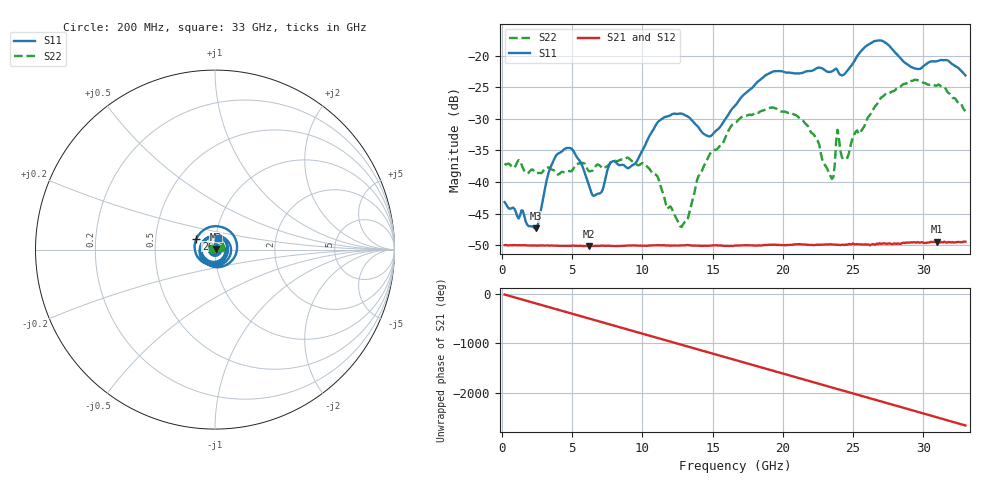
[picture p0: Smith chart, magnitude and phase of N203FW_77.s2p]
# GHZ S RI R 50
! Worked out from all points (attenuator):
!   329 points, 200 MHz to 33 GHz, reference 50 ohm
!   highest |S21| = -49.40 dB at 31 GHz (marker M1); lowest = -50.1 dB at 6.2 GHz (marker M2)
!   lowest |S11| = -47.3 dB at 2.4 GHz (marker M3), VSWR 1.01, Z = 50.3 + j0.292 ohm
!   |S11| at or under -10 dB: start of sweep to end of sweep
!   |S22| runs from -47.1 to -23.8 dB; largest |S21 - S12| = 8.8e-05
!   S11 on the Smith chart (normalised r, x): 200 MHz: 1.01, +0.00; 26 GHz: 0.81, +0.10; 33 GHz: 1.03, +0.14
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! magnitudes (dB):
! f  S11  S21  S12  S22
! 200 MHz  -43.2  -50.0  -49.9  -37.1
! 2.4 GHz  -47.3  -50.0  -50.0  -38.5
! 3.9 GHz  -35.7  -50.0  -50.1  -38.6
! 5.7 GHz  -37.3  -50.1  -50.1  -37.0
! 6.2 GHz  -40.5  -50.1  -50.1  -38.3
! 7 GHz  -41.8  -50.1  -50.0  -37.4
! 9.5 GHz  -37.0  -50.0  -50.0  -37.1
! 11.2 GHz  -30.3  -50.0  -50.0  -39.8
! 12.8 GHz  -29.2  -50.0  -50.0  -47.1
! 14.8 GHz  -32.8  -50.0  -50.0  -35.6
! 16.6 GHz  -27.9  -50.0  -50.0  -30.6
! 19.3 GHz  -22.5  -49.9  -49.9  -28.2
! 22.1 GHz  -22.4  -49.9  -49.9  -32.3
! 23.5 GHz  -22.5  -49.9  -49.8  -39.5
! 23.9 GHz  -22.4  -49.9  -49.9  -31.7
! 24.2 GHz  -23.1  -49.9  -49.9  -36.0
! 24.6 GHz  -22.4  -49.9  -49.9  -36.2
! 26 GHz  -18.4  -49.9  -49.8  -30.0
! 27.6 GHz  -18.5  -49.7  -49.7  -25.9
! 29.4 GHz  -22.0  -49.5  -49.6  -23.8
! 31 GHz  -20.9  -49.4  -49.4  -24.7
! 33 GHz  -23.1  -49.4  -49.4  -28.8
